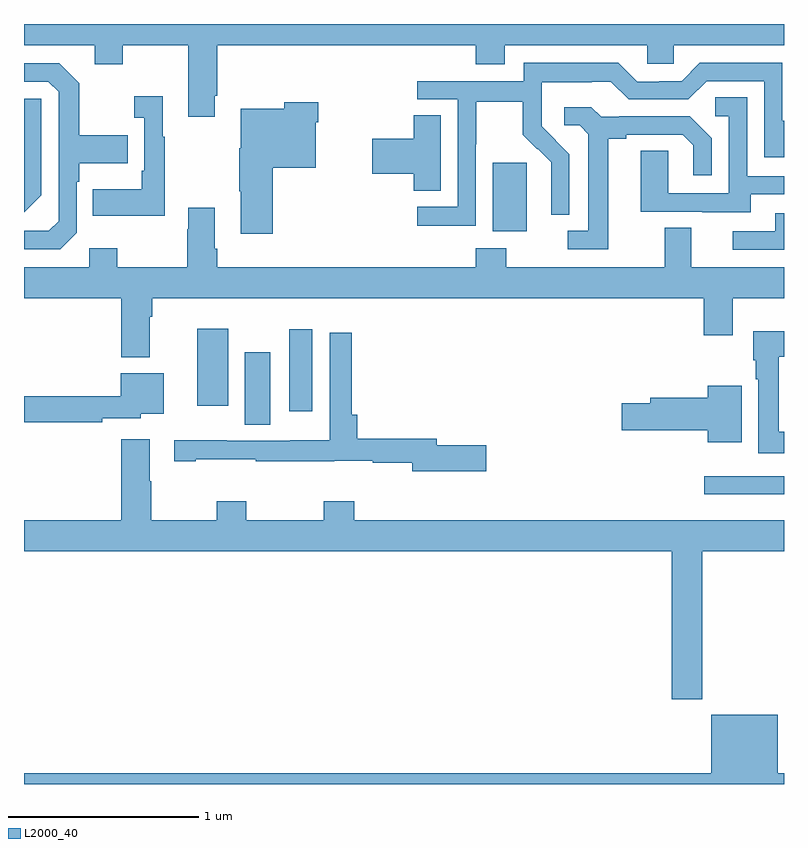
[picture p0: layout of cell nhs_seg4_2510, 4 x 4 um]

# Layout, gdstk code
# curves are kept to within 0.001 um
import gdstk
lib = gdstk.Library(unit=1e-6, precision=1e-09)
def R(c, l, rs):  # rectangles x0, y0, x1, y1
    for r in rs: c.add(gdstk.rectangle(r[:2], r[2:], *l))
def P(c, l, *ps):  # polygons
    for p in ps: c.add(gdstk.Polygon(p, *l))
L2000_40 = (2000, 40)

nhs_seg4_2510 = lib.new_cell('nhs_seg4_2510')
R(nhs_seg4_2510, L2000_40, [(244.581,826.424,245,826.521), (242.162,826.792,242.296,827.173), (242.396,826.863,242.518,827.293), (241.913,826.89,242.074,827.296), (243.467,827.81,243.646,828.171)])
P(nhs_seg4_2510, L2000_40, [(241,828.788),(241.373,828.788),(241.373,828.689),(241.521,828.689),(241.521,828.788),(241.865,828.788),(241.865,828.411),(242.005,828.411),(242.005,828.523),(242.018,828.523),(242.018,828.788),(243.377,828.788),(243.377,828.689),(243.529,828.689),(243.529,828.788),(244.281,828.788),(244.281,828.69),(244.419,828.69),(244.419,828.788),(245,828.788),(245,828.9),(241,828.9)],
  [(243.378,828.268),(243.381,828.268),(243.381,828.492),(243.625,828.492),(243.625,828.317),(243.702,828.24),(243.705,828.243),(243.776,828.173),(243.776,828.05),(243.774,828.05),(243.774,827.896),(243.87,827.896),(243.87,828.214),(243.724,828.362),(243.724,828.459),(243.726,828.459),(243.726,828.593),(243.989,828.593),(243.989,828.597),(244.089,828.597),(244.182,828.504),(244.497,828.504),(244.593,828.6),(244.896,828.6),(244.896,828.198),(245,828.198),(245,828.391),(244.992,828.391),(244.992,828.696),(244.557,828.696),(244.461,828.6),(244.343,828.6),(244.343,828.597),(244.227,828.597),(244.127,828.697),(243.63,828.697),(243.63,828.6),(243.069,828.6),(243.069,828.504),(243.282,828.504),(243.282,827.937),(243.069,827.937),(243.069,827.839),(243.378,827.839)],
  [(241.278,827.802),(241.278,828.071),(241.291,828.071),(241.291,828.167),(241.547,828.167),(241.547,828.315),(241.291,828.315),(241.291,828.587),(241.185,828.693),(241,828.693),(241,828.597),(241.128,828.597),(241.182,828.543),(241.182,827.862),(241.131,827.811),(241,827.811),(241,827.715),(241.191,827.715)],
  [(241.741,828.307),(241.729,828.307),(241.729,828.52),(241.581,828.52),(241.581,828.407),(241.632,828.407),(241.632,828.127),(241.62,828.127),(241.62,828.031),(241.363,828.031),(241.363,827.891),(241.741,827.891)],
  [(244.825,828.003),(245,828.003),(245,828.099),(244.806,828.099),(244.806,828.515),(244.638,828.515),(244.638,828.414),(244.71,828.414),(244.71,828.009),(244.392,828.009),(244.392,828.233),(244.247,828.233),(244.247,827.913),(244.571,827.913),(244.571,827.909),(244.825,827.909)],
  [(241.092,828),(241.092,828.507),(241,828.507),(241,827.91),(241.002,827.91)],
  [(242.309,828.143),(242.536,828.143),(242.536,828.383),(242.549,828.383),(242.549,828.487),(242.371,828.487),(242.371,828.454),(242.141,828.454),(242.141,828.247),(242.134,828.247),(242.134,828.019),(242.141,828.019),(242.141,827.796),(242.309,827.796)],
  [(244.075,828.296),(244.171,828.296),(244.171,828.318),(244.466,828.318),(244.523,828.261),(244.523,828.105),(244.62,828.105),(244.62,828.298),(244.504,828.414),(244.132,828.414),(244.132,828.411),(244.038,828.411),(243.986,828.463),(243.843,828.463),(243.843,828.366),(243.924,828.366),(243.971,828.319),(243.971,827.811),(243.861,827.811),(243.861,827.715),(244.075,827.715)],
  [(243.193,828.419),(243.05,828.419),(243.05,828.296),(242.832,828.296),(242.832,828.113),(243.05,828.113),(243.05,828.022),(243.193,828.022)],
  [(244.577,827.262),(244.729,827.262),(244.729,827.456),(245,827.456),(245,827.62),(244.513,827.62),(244.513,827.828),(244.373,827.828),(244.373,827.62),(243.537,827.62),(243.537,827.719),(243.377,827.719),(243.377,827.62),(242.018,827.62),(242.018,827.716),(242.005,827.716),(242.005,827.932),(241.865,827.932),(241.865,827.819),(241.858,827.819),(241.858,827.62),(241.491,827.62),(241.491,827.719),(241.344,827.719),(241.344,827.62),(241,827.62),(241,827.456),(241.511,827.456),(241.511,827.147),(241.663,827.147),(241.663,827.36),(241.676,827.36),(241.676,827.456),(244.577,827.456)],
  [(245,827.904),(244.955,827.904),(244.955,827.808),(244.731,827.808),(244.731,827.712),(245,827.712)],
  [(245,826.754),(244.972,826.754),(244.972,827.15),(245,827.15),(245,827.284),(244.838,827.284),(244.838,827.13),(244.85,827.13),(244.85,827.03),(244.865,827.03),(244.865,826.641),(245,826.641)],
  [(243.433,826.682),(243.172,826.682),(243.172,826.718),(242.753,826.718),(242.753,826.843),(242.726,826.843),(242.726,827.275),(242.61,827.275),(242.61,826.708),(242.4,826.708),(242.4,826.707),(242.066,826.707),(242.066,826.709),(241.791,826.709),(241.791,826.599),(241.903,826.599),(241.903,826.609),(242.219,826.609),(242.219,826.599),(242.634,826.599),(242.634,826.601),(242.836,826.601),(242.836,826.59),(243.044,826.59),(243.044,826.547),(243.433,826.547)],
  [(241.412,826.824),(241.614,826.824),(241.614,826.85),(241.735,826.85),(241.735,827.062),(241.508,827.062),(241.508,826.94),(241,826.94),(241,826.804),(241.412,826.804)],
  [(244.777,826.996),(244.598,826.996),(244.598,826.934),(244.295,826.934),(244.295,826.904),(244.146,826.904),(244.146,826.762),(244.598,826.762),(244.598,826.7),(244.777,826.7)],
  [(244.569,826.124),(245,826.124),(245,826.288),(242.738,826.288),(242.738,826.387),(242.578,826.387),(242.578,826.288),(242.169,826.288),(242.169,826.387),(242.014,826.387),(242.014,826.288),(241.671,826.288),(241.671,826.493),(241.663,826.493),(241.663,826.714),(241.511,826.714),(241.511,826.288),(241,826.288),(241,826.124),(244.409,826.124),(244.409,825.345),(244.569,825.345)],
  [(245,824.956),(244.966,824.956),(244.966,825.265),(244.616,825.265),(244.616,824.956),(241,824.956),(241,824.9),(245,824.9)])

lib.write_gds('nhs_seg4_2510.gds')
